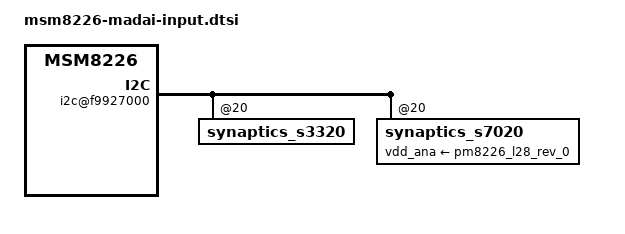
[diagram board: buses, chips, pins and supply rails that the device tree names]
/* Copyright (c) 2013, LGE Electronics. All rights reserved.
 *
 * This program is free software; you can redistribute it and/or modify
 * it under the terms of the GNU General Public License version 2 and
 * only version 2 as published by the Free Software Foundation.
 *
 * This program is distributed in the hope that it will be useful,
 * but WITHOUT ANY WARRANTY; without even the implied warranty of
 * MERCHANTABILITY or FITNESS FOR A PARTICULAR PURPOSE.  See the
 * GNU General Public License for more details.
 */

&soc {
	i2c@f9927000 { /* BLSP1 QUP5 */
	        rmi_s3320@20  {
		        status = "disable";
                };
		
		synaptics_s3320@20 {
			status = "ok";
			revision = "rev_a...";
			fw_image_s3320_a0 = "synaptics/madai/PLG430-V1.11-PR1700665-DS5.2.12.0.1013_4004718B.img";
			fw_image_s3320_c0 = "synaptics/madai/PLG430-V1.12-PR1741017_DS5.2.12.0.1013_4004718C.img";
			fw_image_s3320_d0 = "synaptics/madai/PLG430-V1.18-PR1769098_DS5.2.12.0.1013_40047192.img";
			panel_spec = "synaptics/madai/madai_limit.txt";
		};		

		synaptics_s7020@20 {
			status = "ok";
			revision = "rev_0";
			vdd_ana-supply = <&pm8226_l28_rev_0>;
		};
	};
};
